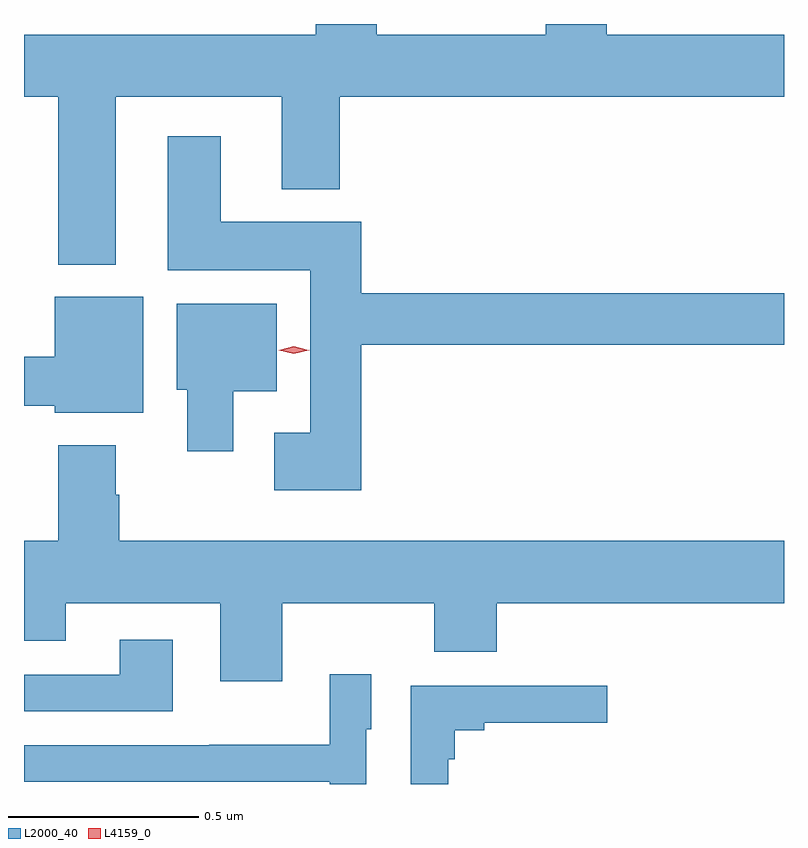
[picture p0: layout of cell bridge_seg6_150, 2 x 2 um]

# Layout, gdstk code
import gdstk
lib = gdstk.Library(unit=1e-6, precision=1e-09)
def P(c, l, *ps):  # polygons
    for p in ps: c.add(gdstk.Polygon(p, *l))
L2000_40 = (2000, 40)
L4159_0 = (4159, 0)

bridge_seg6_150 = lib.new_cell('bridge_seg6_150')
P(bridge_seg6_150, L2000_40, [(530.041,991.292),(530.477,991.292),(530.477,991.049),(530.63,991.049),(530.63,991.292),(531.799,991.292),(531.799,991.456),(531.332,991.456),(531.332,991.484),(531.172,991.484),(531.172,991.456),(530.727,991.456),(530.727,991.484),(530.567,991.484),(530.567,991.456),(529.799,991.456),(529.799,991.292),(529.889,991.292),(529.889,990.851),(530.041,990.851)],
  [(530.687,990.64),(531.799,990.64),(531.799,990.776),(530.687,990.776),(530.687,990.964),(530.317,990.964),(530.317,991.189),(530.177,991.189),(530.177,990.836),(530.552,990.836),(530.552,990.409),(530.457,990.409),(530.457,990.257),(530.687,990.257)],
  [(530.113,990.766),(529.88,990.766),(529.88,990.608),(529.799,990.608),(529.799,990.48),(529.88,990.48),(529.88,990.461),(530.113,990.461)],
  [(530.35,990.518),(530.464,990.518),(530.464,990.748),(530.201,990.748),(530.201,990.522),(530.228,990.522),(530.228,990.36),(530.35,990.36)],
  [(530.479,989.96),(530.879,989.96),(530.879,989.832),(531.043,989.832),(531.043,989.96),(531.799,989.96),(531.799,990.124),(530.049,990.124),(530.049,990.245),(530.041,990.245),(530.041,990.376),(529.889,990.376),(529.889,990.124),(529.799,990.124),(529.799,989.861),(529.909,989.861),(529.909,989.96),(530.315,989.96),(530.315,989.754),(530.479,989.754)],
  [(530.191,989.863),(530.051,989.863),(530.051,989.772),(529.799,989.772),(529.799,989.676),(530.191,989.676)],
  [(530.7,989.628),(530.713,989.628),(530.713,989.773),(530.604,989.773),(530.604,989.587),(530.287,989.587),(530.287,989.586),(529.799,989.586),(529.799,989.49),(530.604,989.49),(530.604,989.484),(530.7,989.484)],
  [(530.915,989.549),(530.933,989.549),(530.933,989.626),(531.01,989.626),(531.01,989.645),(531.334,989.645),(531.334,989.742),(530.817,989.742),(530.817,989.484),(530.915,989.484)])
P(bridge_seg6_150, L4159_0, [(530.509,990.616),(530.469,990.626),(530.469,990.626),(530.469,990.626),(530.509,990.636),(530.548,990.626),(530.549,990.626),(530.548,990.626)])

lib.write_gds('bridge_seg6_150.gds')
